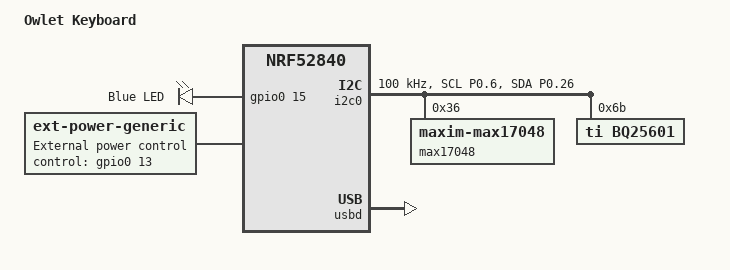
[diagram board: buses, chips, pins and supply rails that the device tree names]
/dts-v1/;
/*
 * owlet 板级设备树（主控小板 + 电源小板，所有键盘共享的不变量）
 * 路径：boards/arm/owlet/owlet.dts
 *
 * 2026-11-22 板/shield 拆分（2A）：键盘差异层移入 boards/shields/owlet_0。
 * 2026-11-23（终版）：int-gpios 与 psel-gpios 均为必选、由键盘 shield 声明，
 *   板级不再给 INT 默认脚（避免"漏声明静默用错脚"）；使能 WDT 节点。
 */
#include <nordic/nrf52840_qiaa.dtsi>
#include <dt-bindings/gpio/gpio.h>

/ {
	model = "Owlet Keyboard";
	compatible = "owlet,owlet-keyboard";

	chosen {
		zephyr,sram = &sram0;
		zephyr,flash = &flash0;
		zephyr,code-partition = &code_partition;
		zmk,battery = &max17048;
		zmk,power-control = &power_en;
	};

	aliases {
		led0 = &blue_led;
	};

	leds {
		compatible = "gpio-leds";
		blue_led: led_0 { gpios = <&gpio0 15 GPIO_ACTIVE_HIGH>; label = "Blue LED"; };
	};

	power_en: power-enable {
		compatible = "zmk,ext-power-generic";
		control-gpios = <&gpio0 13 (GPIO_ACTIVE_HIGH | GPIO_PULL_UP)>;
		label = "External power control";
	};
};

&pinctrl {
	i2c0_default: i2c0_default {
		group1 {
			psels = <NRF_PSEL(TWIM_SCL, 0, 6)>, <NRF_PSEL(TWIM_SDA, 0, 26)>;
			bias-pull-up;
		};
	};
	i2c0_sleep: i2c0_sleep {
		group1 {
			psels = <NRF_PSEL(TWIM_SCL, 0, 6)>, <NRF_PSEL(TWIM_SDA, 0, 26)>;
			bias-pull-up;
			low-power-enable;
		};
	};
};

&i2c0 {
	compatible = "nordic,nrf-twim";
	status = "okay";
	clock-frequency = <I2C_BITRATE_STANDARD>;
	pinctrl-0 = <&i2c0_default>;
	pinctrl-1 = <&i2c0_sleep>;
	pinctrl-names = "default", "sleep";

	max17048: max17048@36 {
		compatible = "zmk,maxim-max17048";
		reg = <0x36>;
	};

	bq25601: bq25601@6b {
		compatible = "ti,bq25601";
		reg = <0x6b>;
		status = "okay";
	};
};

&gpiote { status = "okay"; };
&gpio0  { status = "okay"; };
&gpio1  { status = "okay"; };

&{/soc/watchdog@40010000} { status = "okay"; };

zephyr_udc0: &usbd {
	compatible = "nordic,nrf-usbd";
	status = "okay";

	cdc_acm_uart: cdc_acm_uart {
		compatible = "zephyr,cdc-acm-uart";
		label = "CDC_ACM_0";
	};
};

&flash0 {
	partitions {
		compatible = "fixed-partitions";
		#address-cells = <1>;
		#size-cells = <1>;

		sd_partition: partition@0 { label = "softdevice"; reg = <0x00000000 0x00026000>; };
		code_partition: partition@26000 { label = "code_partition"; reg = <0x00026000 0x000c6000>; };
		storage_partition: partition@ec000 { label = "storage"; reg = <0x000ec000 0x00008000>; };
		boot_partition: partition@f4000 { label = "adafruit_boot"; reg = <0x000f4000 0x0000c000>; };
	};
};
